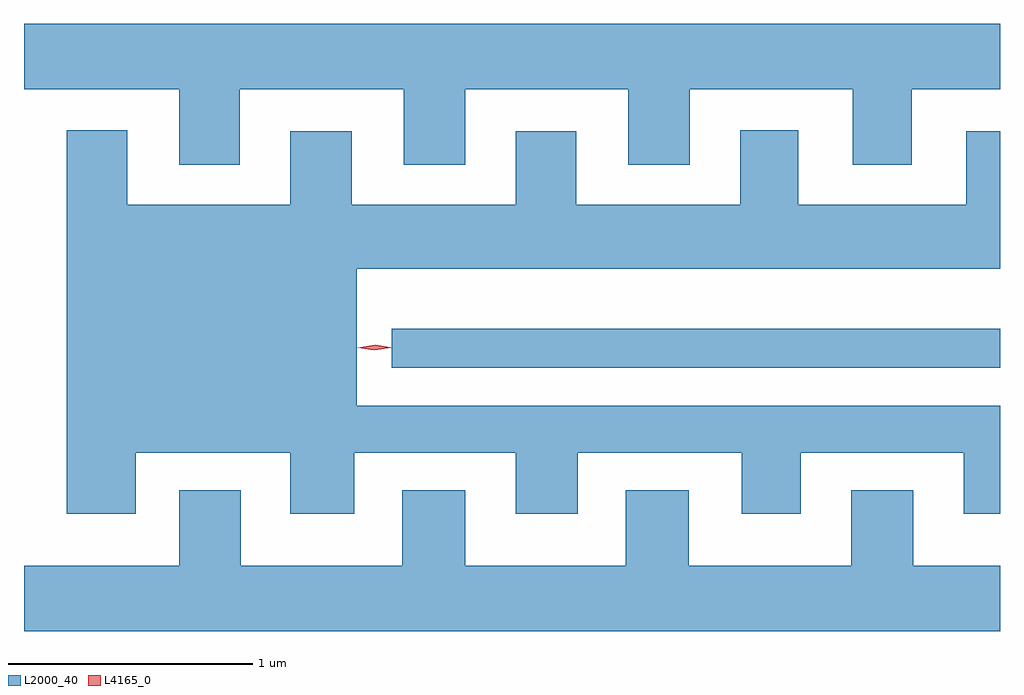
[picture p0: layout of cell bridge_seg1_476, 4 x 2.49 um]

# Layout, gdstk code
import gdstk
lib = gdstk.Library(unit=1e-6, precision=1e-09)
def R(c, l, rs):  # rectangles x0, y0, x1, y1
    for r in rs: c.add(gdstk.rectangle(r[:2], r[2:], *l))
def P(c, l, *ps):  # polygons
    for p in ps: c.add(gdstk.Polygon(p, *l))
L2000_40 = (2000, 40)
L4165_0 = (4165, 0)

bridge_seg1_476 = lib.new_cell('bridge_seg1_476')
R(bridge_seg1_476, L2000_40, [(481.443,847.376,483.935,847.534)])
P(bridge_seg1_476, L2000_40, [(480.819,848.516),(481.491,848.516),(481.491,848.206),(481.744,848.206),(481.744,848.516),(482.411,848.516),(482.411,848.206),(482.664,848.206),(482.664,848.516),(483.331,848.516),(483.331,848.206),(483.574,848.206),(483.574,848.516),(483.935,848.516),(483.935,848.784),(479.935,848.784),(479.935,848.516),(480.571,848.516),(480.571,848.206),(480.819,848.206)],
  [(480.394,847.026),(481.026,847.026),(481.026,846.776),(481.289,846.776),(481.289,847.026),(481.951,847.026),(481.951,846.776),(482.204,846.776),(482.204,847.026),(482.876,847.026),(482.876,846.776),(483.119,846.776),(483.119,847.026),(483.786,847.026),(483.786,846.776),(483.935,846.776),(483.935,847.219),(481.299,847.219),(481.299,847.781),(483.935,847.781),(483.935,848.344),(483.796,848.344),(483.796,848.044),(483.109,848.044),(483.109,848.349),(482.871,848.349),(482.871,848.044),(482.199,848.044),(482.199,848.344),(481.951,848.344),(481.951,848.044),(481.279,848.044),(481.279,848.344),(481.026,848.344),(481.026,848.044),(480.359,848.044),(480.359,848.349),(480.111,848.349),(480.111,846.776),(480.394,846.776)],
  [(483.326,846.874),(483.326,846.564),(482.659,846.564),(482.659,846.874),(482.401,846.874),(482.401,846.564),(481.744,846.564),(481.744,846.874),(481.486,846.874),(481.486,846.564),(480.824,846.564),(480.824,846.874),(480.571,846.874),(480.571,846.564),(479.935,846.564),(479.935,846.296),(483.935,846.296),(483.935,846.564),(483.579,846.564),(483.579,846.874)])
P(bridge_seg1_476, L4165_0, [(481.375,847.45),(481.313,847.459),(481.312,847.46),(481.313,847.46),(481.375,847.47),(481.436,847.46),(481.437,847.46),(481.436,847.459)],
  [(481.371,847.447),(481.302,847.457),(481.302,847.457),(481.302,847.458),(481.371,847.467),(481.44,847.458),(481.44,847.457),(481.44,847.457)])

lib.write_gds('bridge_seg1_476.gds')
